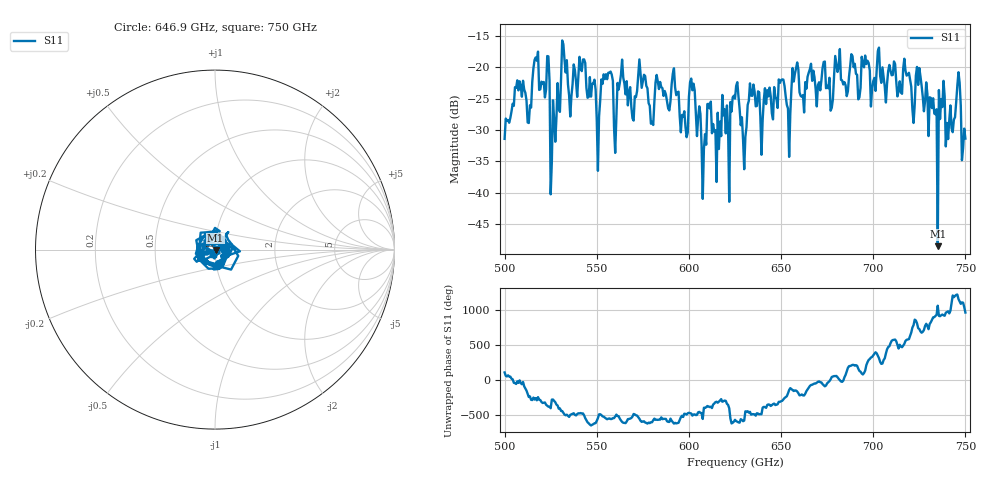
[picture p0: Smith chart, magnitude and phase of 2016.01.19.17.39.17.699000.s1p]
!Created with skrf (http://scikit-rf.org).
# GHz S RI R 50.0
!freq ReS11 ImS11
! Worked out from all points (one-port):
!   401 points, 500 GHz to 750 GHz, reference 50 ohm
!   lowest |S11| = -48.5 dB at 735 GHz (marker M1), VSWR 1.01, Z = 50.4 - j0.133 ohm
!   |S11| at or under -10 dB: start of sweep to end of sweep
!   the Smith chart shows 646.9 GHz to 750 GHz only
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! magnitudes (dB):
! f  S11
! 500 GHz  -31.4
! 506.9 GHz  -22.1
! 513.1 GHz  -28.9
! 516.9 GHz  -18.5
! 523.1 GHz  -18.2
! 526.2 GHz  -25.3
! 531.2 GHz  -15.8
! 542.5 GHz  -18.8
! 550.6 GHz  -36.5
! 553.8 GHz  -21.1
! 562.5 GHz  -22.5
! 593.8 GHz  -24.0
! 598.1 GHz  -29.5
! 601.9 GHz  -23.7
! 608.1 GHz  -33.1
! 610.6 GHz  -25.9
! 620.6 GHz  -26.1
! 625 GHz  -25.0
! 630 GHz  -36.2
! 634.4 GHz  -24.6
! 650 GHz  -22.1
! 653.8 GHz  -26.6
! 656.2 GHz  -20.1
! 687.5 GHz  -19.8
! 718.8 GHz  -21.2
! 735 GHz  -48.5
! 746.2 GHz  -20.8
! 750 GHz  -31.4
